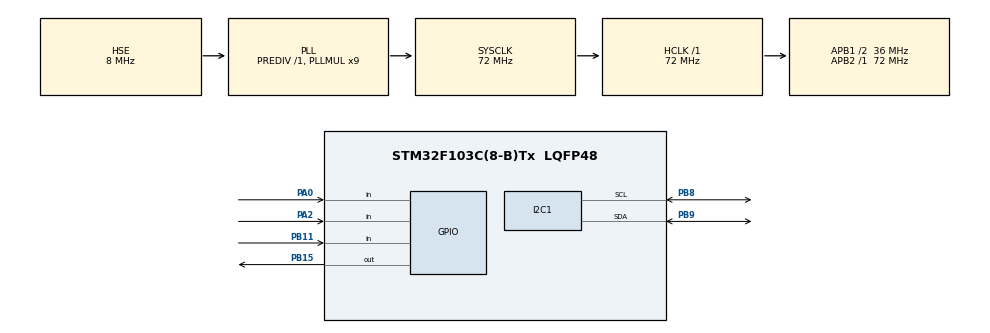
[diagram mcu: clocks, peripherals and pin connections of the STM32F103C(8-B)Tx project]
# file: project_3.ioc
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I2C1.I2C_Mode=I2C_Fast
Mcu.Family=STM32F1
Mcu.Name=STM32F103C(8-B)Tx
Mcu.Package=LQFP48
NVIC.PriorityGroup=NVIC_PRIORITYGROUP_4
NVIC.RTC_Alarm_IRQn=true\:0\:0\:false\:false\:true\:true\:true\:true
PA0-WKUP.GPIO_PuPd=GPIO_PULLUP
PA0-WKUP.Signal=GPIO_Input
PA13.Mode=Serial_Wire
PA13.Signal=SYS_JTMS-SWDIO
PA14.Mode=Serial_Wire
PA14.Signal=SYS_JTCK-SWCLK
PA2.GPIO_PuPd=GPIO_PULLUP
PA2.Signal=GPIO_Input
PB11.GPIO_PuPd=GPIO_PULLUP
PB11.Signal=GPIO_Input
PB15.PinState=GPIO_PIN_SET
PB15.Signal=GPIO_Output
PB8.Mode=I2C
PB8.Signal=I2C1_SCL
PB9.Mode=I2C
PB9.Signal=I2C1_SDA
PC14-OSC32_IN.Mode=LSE-External-Oscillator
PC14-OSC32_IN.Signal=RCC_OSC32_IN
PC15-OSC32_OUT.Mode=LSE-External-Oscillator
PC15-OSC32_OUT.Signal=RCC_OSC32_OUT
PD0-OSC_IN.Mode=HSE-External-Oscillator
PD0-OSC_IN.Signal=RCC_OSC_IN
PD1-OSC_OUT.Mode=HSE-External-Oscillator
PD1-OSC_OUT.Signal=RCC_OSC_OUT
ProjectManager.HeapSize=0x200
ProjectManager.StackSize=0x400
ProjectManager.TargetToolchain=MDK-ARM V5.32
RCC.AHBFreq_Value=72000000
RCC.APB1CLKDivider=RCC_HCLK_DIV2
RCC.APB1Freq_Value=36000000
RCC.APB1TimFreq_Value=72000000
RCC.APB2Freq_Value=72000000
RCC.APB2TimFreq_Value=72000000
RCC.HCLKFreq_Value=72000000
RCC.PLLMUL=RCC_PLL_MUL9
RCC.PLLSourceVirtual=RCC_PLLSOURCE_HSE
RCC.RTCClockSelection=RCC_RTCCLKSOURCE_LSE
RCC.SYSCLKFreq_VALUE=72000000
RCC.SYSCLKSource=RCC_SYSCLKSOURCE_PLLCLK
RCC.USBFreq_Value=72000000
RTC.AutoPrediv=RTC_AUTO_1_SECOND
RTC.Date=24
RTC.Format=RTC_FORMAT_BIN
RTC.Hours=12
RTC.Month=RTC_MONTH_OCTOBER
RTC.OutPut=RTC_OUTPUTSOURCE_ALARM
RTC.WeekDay=RTC_WEEKDAY_SATURDAY
RTC.Year=26
VP_RTC_VS_RTC_Activate.Mode=RTC_Enabled
VP_RTC_VS_RTC_Calendar.Mode=RTC_Calendar
board=custom

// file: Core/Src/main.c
/* USER CODE BEGIN Header */
/**
  ******************************************************************************
  * @file           : main.c
  * @brief          : Main program body
  ******************************************************************************
  * @attention
  *
  * Copyright (c) 2026 STMicroelectronics.
  * All rights reserved.
  *
  * This software is licensed under terms that can be found in the LICENSE file
  * in the root directory of this software component.
  * If no LICENSE file comes with this software, it is provided AS-IS.
  *
  ******************************************************************************
  */
/* USER CODE END Header */
#include "main.h"
#include "i2c.h"
#include "rtc.h"
#include "gpio.h"

/* USER CODE BEGIN Includes */
#include "OLED.h"
/* USER CODE END Includes */

void SystemClock_Config(void);

int main(void)
{

  /* MCU Configuration--------------------------------------------------------*/

  /* Reset of all peripherals, Initializes the Flash interface and the Systick. */
  HAL_Init();

  /* Configure the system clock */
  SystemClock_Config();

  /* Initialize all configured peripherals */
  MX_GPIO_Init();
  MX_RTC_Init();
  MX_I2C1_Init();
  /* USER CODE BEGIN 2 */
  OLED_Init();
  OLED_Clear();

  /* USER CODE END 2 */

  /* Infinite loop */
  /* USER CODE BEGIN WHILE */
  RTC_TimeTypeDef sTime = {0};
  RTC_DateTypeDef sDate = {0};
  RTC_AlarmTypeDef sAlarm = {0};
  uint8_t set_mode = 0;

// 2. 初始化闹钟（写在 while 外面）
  RTC_TimeTypeDef ResetTime = {0};
  RTC_DateTypeDef ResetDate = {0};
  ResetTime.Hours = 12; ResetTime.Minutes = 0; ResetTime.Seconds = 0;
  ResetDate.Year = 26; ResetDate.Month = 10; ResetDate.Date = 24; ResetDate.WeekDay = RTC_WEEKDAY_SATURDAY;
  HAL_RTC_SetTime(&hrtc, &ResetTime, RTC_FORMAT_BIN);
  HAL_RTC_SetDate(&hrtc, &ResetDate, RTC_FORMAT_BIN);

  // 👇 补上闹钟的初始化（默认设为 12:30:00）
  sAlarm.AlarmTime.Hours = 12;
  sAlarm.AlarmTime.Minutes = 30;
  sAlarm.AlarmTime.Seconds = 0;
  sAlarm.Alarm = RTC_ALARM_A;
  //HAL_RTC_SetAlarm_IT(&hrtc, &sAlarm, RTC_FORMAT_BIN); // 必须写这句，闹钟才会生效

  HAL_GPIO_WritePin(GPIOB, GPIO_PIN_15, GPIO_PIN_SET);
  while (1)
  {
    // -----------------------------------------
	// 1. 读取并显示时间
	// -----------------------------------------
	HAL_RTC_GetTime(&hrtc, &sTime, RTC_FORMAT_BIN);
	HAL_RTC_GetDate(&hrtc, &sDate, RTC_FORMAT_BIN);

	// 显示日期（例如 2026-10-24）
	OLED_ShowNum(1, 1, 2000 + sDate.Year, 4);
	OLED_ShowString(1, 5, "-");
	OLED_ShowNum(1, 6, sDate.Month, 2);
	OLED_ShowString(1, 8, "-");
	OLED_ShowNum(1, 9, sDate.Date, 2);

	// 显示时间（例如 12:00:00）
	OLED_ShowNum(2, 1, sTime.Hours, 2);
	OLED_ShowString(2, 3, ":");
	OLED_ShowNum(2, 4, sTime.Minutes, 2);
	OLED_ShowString(2, 6, ":");
	OLED_ShowNum(2, 7, sTime.Seconds, 2);

	// 显示当前模式（0-4），方便看状态
	OLED_ShowString(3, 1, "Mode:");
	OLED_ShowNum(3, 6, set_mode, 1);
	OLED_ShowString(3, 8, "    ");
    // 👇 补上闹钟时间的显示（显示在第4行）
    OLED_ShowString(4, 1, "Alarm:");
    OLED_ShowNum(4, 7, sAlarm.AlarmTime.Hours, 2);
    OLED_ShowString(4, 9, ":");
    OLED_ShowNum(4, 10, sAlarm.AlarmTime.Minutes, 2);
	// 👇 新增：暴力比对时间，时间一到就让蜂鸣器响！
	if (set_mode == 0) // 只有在正常走时模式下才检测
	{
		// 如果当前的 时、分、秒 刚好等于闹钟的 时、分、秒
		if (sTime.Hours == sAlarm.AlarmTime.Hours &&
			sTime.Minutes == sAlarm.AlarmTime.Minutes &&
			sTime.Seconds == sAlarm.AlarmTime.Seconds)
		{
			// 蜂鸣器响（PB15）
			HAL_GPIO_WritePin(GPIOB, GPIO_PIN_15, GPIO_PIN_RESET);
			HAL_Delay(2000); // 响 2 秒
			HAL_GPIO_WritePin(GPIOB, GPIO_PIN_15, GPIO_PIN_SET);

			// 🚨 极其关键：响完之后，把闹钟小时改成 99，防止这一分钟内反复触发！
			sAlarm.AlarmTime.Hours = 99;
			// 如果想让它明天同一时间继续响，可以改成 sAlarm.AlarmTime.Minutes = 99;
		}
	}
	// -----------------------------------------
	// 2. 按键检测：PB11 (模式切换)
	// -----------------------------------------
	if (HAL_GPIO_ReadPin(GPIOB, GPIO_PIN_11) == GPIO_PIN_RESET)
	{
		HAL_Delay(20); // 消抖
		if (HAL_GPIO_ReadPin(GPIOB, GPIO_PIN_11) == GPIO_PIN_RESET)
		{
			set_mode++;
			if (set_mode > 4) set_mode = 0; // 0->1->2->3->4->0 循环
			while(HAL_GPIO_ReadPin(GPIOB, GPIO_PIN_11) == GPIO_PIN_RESET); // 等松手
		}
	}

	// -----------------------------------------
	// 3. 按键检测：PA0 (加号键)
	// -----------------------------------------
	if (HAL_GPIO_ReadPin(GPIOA, GPIO_PIN_0) == GPIO_PIN_RESET)
	{
		HAL_Delay(20);
		if (HAL_GPIO_ReadPin(GPIOA, GPIO_PIN_0) == GPIO_PIN_RESET)
		{
			// 调时（模式1）
			if (set_mode == 1) {
				sTime.Hours++; if(sTime.Hours > 23) sTime.Hours = 0;
				HAL_RTC_SetTime(&hrtc, &sTime, RTC_FORMAT_BIN);
			}
			// 调分（模式2）
			if (set_mode == 2) {
				sTime.Minutes++; if(sTime.Minutes > 59) sTime.Minutes = 0;
				HAL_RTC_SetTime(&hrtc, &sTime, RTC_FORMAT_BIN);
			}
			// 调闹钟时（模式3）
			if (set_mode == 3) {
				sAlarm.AlarmTime.Hours++; if(sAlarm.AlarmTime.Hours > 23) sAlarm.AlarmTime.Hours = 0;
				//HAL_RTC_SetAlarm_IT(&hrtc, &sAlarm, RTC_FORMAT_BIN);
			}
			// 调闹钟分（模式4）
			if (set_mode == 4) {
				sAlarm.AlarmTime.Minutes++; if(sAlarm.AlarmTime.Minutes > 59) sAlarm.AlarmTime.Minutes = 0;
				//HAL_RTC_SetAlarm_IT(&hrtc, &sAlarm, RTC_FORMAT_BIN);
			}
			while(HAL_GPIO_ReadPin(GPIOA, GPIO_PIN_0) == GPIO_PIN_RESET);
		}
	}

	// -----------------------------------------
	// 4. 按键检测：PA2(减号键)
	// -----------------------------------------
	if (HAL_GPIO_ReadPin(GPIOA, GPIO_PIN_2) == GPIO_PIN_RESET)
	{
		HAL_Delay(20);
		if (HAL_GPIO_ReadPin(GPIOA, GPIO_PIN_2) == GPIO_PIN_RESET)
		{
			// 减时
			if (set_mode == 1) {
				if(sTime.Hours > 0) sTime.Hours--; else sTime.Hours = 23;
				HAL_RTC_SetTime(&hrtc, &sTime, RTC_FORMAT_BIN);
			}
			// 减分
			if (set_mode == 2) {
				if(sTime.Minutes > 0) sTime.Minutes--; else sTime.Minutes = 59;
				HAL_RTC_SetTime(&hrtc, &sTime, RTC_FORMAT_BIN);
			}
			// 减闹钟时
			if (set_mode == 3) {
				if(sAlarm.AlarmTime.Hours > 0) sAlarm.AlarmTime.Hours--; else sAlarm.AlarmTime.Hours = 23;
				//HAL_RTC_SetAlarm_IT(&hrtc, &sAlarm, RTC_FORMAT_BIN);
			}
			// 减闹钟分
			if (set_mode == 4) {
				if(sAlarm.AlarmTime.Minutes > 0) sAlarm.AlarmTime.Minutes--; else sAlarm.AlarmTime.Minutes = 59;
				//HAL_RTC_SetAlarm_IT(&hrtc, &sAlarm, RTC_FORMAT_BIN);
			}
			while(HAL_GPIO_ReadPin(GPIOA, GPIO_PIN_1) == GPIO_PIN_RESET);
		}
	}
    /* USER CODE END WHILE */

	  }
}

void SystemClock_Config(void)
{
  RCC_OscInitTypeDef RCC_OscInitStruct = {0};
  RCC_ClkInitTypeDef RCC_ClkInitStruct = {0};
  RCC_PeriphCLKInitTypeDef PeriphClkInit = {0};

  /** Initializes the RCC Oscillators according to the specified parameters
  * in the RCC_OscInitTypeDef structure.
  */
  RCC_OscInitStruct.OscillatorType = RCC_OSCILLATORTYPE_HSE|RCC_OSCILLATORTYPE_LSE;
  RCC_OscInitStruct.HSEState = RCC_HSE_ON;
  RCC_OscInitStruct.HSEPredivValue = RCC_HSE_PREDIV_DIV1;
  RCC_OscInitStruct.LSEState = RCC_LSE_ON;
  RCC_OscInitStruct.HSIState = RCC_HSI_ON;
  RCC_OscInitStruct.PLL.PLLState = RCC_PLL_ON;
  RCC_OscInitStruct.PLL.PLLSource = RCC_PLLSOURCE_HSE;
  RCC_OscInitStruct.PLL.PLLMUL = RCC_PLL_MUL9;
  if (HAL_RCC_OscConfig(&RCC_OscInitStruct) != HAL_OK)
  {
    Error_Handler();
  }

  /** Initializes the CPU, AHB and APB buses clocks
  */
  RCC_ClkInitStruct.ClockType = RCC_CLOCKTYPE_HCLK|RCC_CLOCKTYPE_SYSCLK
                              |RCC_CLOCKTYPE_PCLK1|RCC_CLOCKTYPE_PCLK2;
  RCC_ClkInitStruct.SYSCLKSource = RCC_SYSCLKSOURCE_PLLCLK;
  RCC_ClkInitStruct.AHBCLKDivider = RCC_SYSCLK_DIV1;
  RCC_ClkInitStruct.APB1CLKDivider = RCC_HCLK_DIV2;
  RCC_ClkInitStruct.APB2CLKDivider = RCC_HCLK_DIV1;

  if (HAL_RCC_ClockConfig(&RCC_ClkInitStruct, FLASH_LATENCY_2) != HAL_OK)
  {
    Error_Handler();
  }
  PeriphClkInit.PeriphClockSelection = RCC_PERIPHCLK_RTC;
  PeriphClkInit.RTCClockSelection = RCC_RTCCLKSOURCE_LSE;
  if (HAL_RCCEx_PeriphCLKConfig(&PeriphClkInit) != HAL_OK)
  {
    Error_Handler();
  }
}

void Error_Handler(void)
{
  __disable_irq();
  while (1)
  {
  }
}
